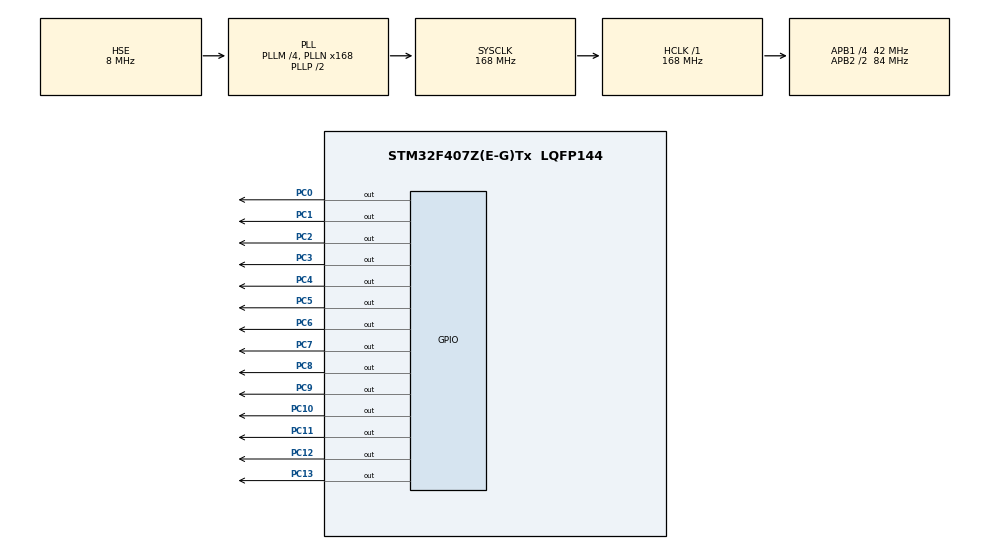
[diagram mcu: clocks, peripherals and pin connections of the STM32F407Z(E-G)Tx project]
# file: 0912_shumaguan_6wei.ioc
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Mcu.Family=STM32F4
Mcu.Name=STM32F407Z(E-G)Tx
Mcu.Package=LQFP144
NVIC.PriorityGroup=NVIC_PRIORITYGROUP_4
PA13.Mode=Serial_Wire
PA13.Signal=SYS_JTMS-SWDIO
PA14.Mode=Serial_Wire
PA14.Signal=SYS_JTCK-SWCLK
PC0.Signal=GPIO_Output
PC1.Signal=GPIO_Output
PC10.Signal=GPIO_Output
PC11.Signal=GPIO_Output
PC12.Signal=GPIO_Output
PC13-ANTI_TAMP.Signal=GPIO_Output
PC2.Signal=GPIO_Output
PC3.Signal=GPIO_Output
PC4.Signal=GPIO_Output
PC5.Signal=GPIO_Output
PC6.Signal=GPIO_Output
PC7.Signal=GPIO_Output
PC8.Signal=GPIO_Output
PC9.Signal=GPIO_Output
PH0-OSC_IN.Mode=HSE-External-Oscillator
PH0-OSC_IN.Signal=RCC_OSC_IN
PH1-OSC_OUT.Mode=HSE-External-Oscillator
PH1-OSC_OUT.Signal=RCC_OSC_OUT
ProjectManager.HeapSize=0x200
ProjectManager.StackSize=0x400
ProjectManager.TargetToolchain=CMake
RCC.48MHZClocksFreq_Value=84000000
RCC.AHBFreq_Value=168000000
RCC.APB1CLKDivider=RCC_HCLK_DIV4
RCC.APB1Freq_Value=42000000
RCC.APB1TimFreq_Value=84000000
RCC.APB2CLKDivider=RCC_HCLK_DIV2
RCC.APB2Freq_Value=84000000
RCC.APB2TimFreq_Value=168000000
RCC.CortexFreq_Value=168000000
RCC.HCLKFreq_Value=168000000
RCC.HSE_VALUE=8000000
RCC.HSI_VALUE=16000000
RCC.LSE_VALUE=32768
RCC.PLLM=4
RCC.PLLN=168
RCC.PLLSourceVirtual=RCC_PLLSOURCE_HSE
RCC.SYSCLKFreq_VALUE=168000000
RCC.SYSCLKSource=RCC_SYSCLKSOURCE_PLLCLK
RCC.VCOOutputFreq_Value=336000000
board=custom

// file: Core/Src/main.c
/* USER CODE BEGIN Header */
/**
  ******************************************************************************
  * @file           : main.c
  * @brief          : Main program body
  ******************************************************************************
  * @attention
  *
  * Copyright (c) 2025 STMicroelectronics.
  * All rights reserved.
  *
  * This software is licensed under terms that can be found in the LICENSE file
  * in the root directory of this software component.
  * If no LICENSE file comes with this software, it is provided AS-IS.
  *
  ******************************************************************************
  */
/* USER CODE END Header */
#include "main.h"
#include "gpio.h"
#include "stm32f4xx.h"
/* USER CODE BEGIN Includes */
#include "stdbool.h"
/* USER CODE END Includes */

void SystemClock_Config(void);

/* USER CODE BEGIN 0 */
  uint32_t delay_counter=0;
uint32_t sec = 0;
uint8_t zhenzhi[16]={0x3F,0x06,0x5B,0x4F,0x66,0x6D,0x7D,0x07,0x7F,0x6F,0x77,0x7C,0x39,0x5E,0x79,0x71};
void Display(uint8_t Wei, uint8_t Duan)
{
    HAL_GPIO_WritePin(GPIOC, GPIO_PIN_5, GPIO_PIN_SET);
    HAL_GPIO_WritePin(GPIOC, GPIO_PIN_4, GPIO_PIN_SET);
    HAL_GPIO_WritePin(GPIOC, GPIO_PIN_3, GPIO_PIN_SET);
    HAL_GPIO_WritePin(GPIOC, GPIO_PIN_2, GPIO_PIN_SET);
    HAL_GPIO_WritePin(GPIOC, GPIO_PIN_1, GPIO_PIN_SET);
    HAL_GPIO_WritePin(GPIOC, GPIO_PIN_0, GPIO_PIN_SET);

    HAL_GPIO_WritePin(GPIOC, GPIO_PIN_7, (zhenzhi[Duan] & 0x40) ? GPIO_PIN_SET : GPIO_PIN_RESET);
    HAL_GPIO_WritePin(GPIOC, GPIO_PIN_8, (zhenzhi[Duan] & 0x20) ? GPIO_PIN_SET : GPIO_PIN_RESET);
    HAL_GPIO_WritePin(GPIOC, GPIO_PIN_9, (zhenzhi[Duan] & 0x10) ? GPIO_PIN_SET : GPIO_PIN_RESET);
    HAL_GPIO_WritePin(GPIOC, GPIO_PIN_10, (zhenzhi[Duan] & 0x08) ? GPIO_PIN_SET : GPIO_PIN_RESET);
    HAL_GPIO_WritePin(GPIOC, GPIO_PIN_11, (zhenzhi[Duan] & 0x04) ? GPIO_PIN_SET : GPIO_PIN_RESET);
    HAL_GPIO_WritePin(GPIOC, GPIO_PIN_12, (zhenzhi[Duan] & 0x02) ? GPIO_PIN_SET : GPIO_PIN_RESET);
  HAL_GPIO_WritePin(GPIOC, GPIO_PIN_13, (zhenzhi[Duan] & 0x01) ? GPIO_PIN_SET : GPIO_PIN_RESET);

/*
  uint16_t temp = GPIOC->ODR;
  temp &= 0xC03F;
  temp |= ((uint16_t)zhenzhi[Duan]<<9);

  GPIOC->ODR = temp;
  */
    //HAL_GPIO_WritePin(GPIOC, GPIO_PIN_6, 1);

    switch(Wei){
        case 0:
            HAL_GPIO_WritePin(GPIOC, GPIO_PIN_0, GPIO_PIN_RESET);

            break;
        case 1:
            HAL_GPIO_WritePin(GPIOC, GPIO_PIN_1, GPIO_PIN_RESET);

            break;
        case 2:
            HAL_GPIO_WritePin(GPIOC, GPIO_PIN_2, GPIO_PIN_RESET);

            break;
        case 3:
            HAL_GPIO_WritePin(GPIOC, GPIO_PIN_3, GPIO_PIN_RESET);

            break;
      case 4:
        HAL_GPIO_WritePin(GPIOC, GPIO_PIN_4, GPIO_PIN_RESET);

        break;
      case 5:
        HAL_GPIO_WritePin(GPIOC, GPIO_PIN_5, GPIO_PIN_RESET);

        break;

    }

}
/* USER CODE END 0 */

int main(void) {

  /* MCU Configuration--------------------------------------------------------*/

  /* Reset of all peripherals, Initializes the Flash interface and the Systick. */
  HAL_Init();

  /* Configure the system clock */
  SystemClock_Config();

  /* Initialize all configured peripherals */
  MX_GPIO_Init();

  /* Infinite loop */
  while (1)
  {

    /* USER CODE BEGIN 3 */

    sec++;

    uint32_t H=sec/3600;
    uint32_t M=(sec-3600*H)/60;
    uint32_t S=(sec%60);
    uint32_t H1=H/10%10;
    uint32_t H0=(H%10);
    uint8_t M1 = M/10%10;
    uint8_t M0 = M%10;
    uint8_t S1 = S/ 10%10;
    uint8_t S0= S % 10;

    for(int i = 0; i <20; i++)
    {

     Display(5, S0);
      HAL_Delay(1);

      Display(4, S1);
      HAL_Delay(1);
      HAL_GPIO_WritePin(GPIOC, GPIO_PIN_6, 1);
     Display(3, M0);
      HAL_Delay(1);
      Display(2, M1);
      HAL_Delay(1);
     Display(1, H0);
      HAL_Delay(1);
      Display(0, H1);
      HAL_Delay(1);
      HAL_GPIO_WritePin(GPIOC, GPIO_PIN_6, 0);

      delay_counter++;

      if(delay_counter >= 167)
      {
       sec++;
        delay_counter = 0;

        if(sec > 24595960)
          sec = 0;
      }

    }
    /* USER CODE END 3 */

  }
}
void SystemClock_Config(void)
{
  RCC_OscInitTypeDef RCC_OscInitStruct = {0};
  RCC_ClkInitTypeDef RCC_ClkInitStruct = {0};

  /** Configure the main internal regulator output voltage
  */
  __HAL_RCC_PWR_CLK_ENABLE();
  __HAL_PWR_VOLTAGESCALING_CONFIG(PWR_REGULATOR_VOLTAGE_SCALE1);

  /** Initializes the RCC Oscillators according to the specified parameters
  * in the RCC_OscInitTypeDef structure.
  */
  RCC_OscInitStruct.OscillatorType = RCC_OSCILLATORTYPE_HSE;
  RCC_OscInitStruct.HSEState = RCC_HSE_ON;
  RCC_OscInitStruct.PLL.PLLState = RCC_PLL_ON;
  RCC_OscInitStruct.PLL.PLLSource = RCC_PLLSOURCE_HSE;
  RCC_OscInitStruct.PLL.PLLM = 4;
  RCC_OscInitStruct.PLL.PLLN = 168;
  RCC_OscInitStruct.PLL.PLLP = RCC_PLLP_DIV2;
  RCC_OscInitStruct.PLL.PLLQ = 4;
  if (HAL_RCC_OscConfig(&RCC_OscInitStruct) != HAL_OK)
  {
    Error_Handler();
  }

  /** Initializes the CPU, AHB and APB buses clocks
  */
  RCC_ClkInitStruct.ClockType = RCC_CLOCKTYPE_HCLK|RCC_CLOCKTYPE_SYSCLK
                              |RCC_CLOCKTYPE_PCLK1|RCC_CLOCKTYPE_PCLK2;
  RCC_ClkInitStruct.SYSCLKSource = RCC_SYSCLKSOURCE_PLLCLK;
  RCC_ClkInitStruct.AHBCLKDivider = RCC_SYSCLK_DIV1;
  RCC_ClkInitStruct.APB1CLKDivider = RCC_HCLK_DIV4;
  RCC_ClkInitStruct.APB2CLKDivider = RCC_HCLK_DIV2;

  if (HAL_RCC_ClockConfig(&RCC_ClkInitStruct, FLASH_LATENCY_5) != HAL_OK)
  {
    Error_Handler();
  }
}

void Error_Handler(void)
{
  __disable_irq();
  while (1)
  {
  }
}
